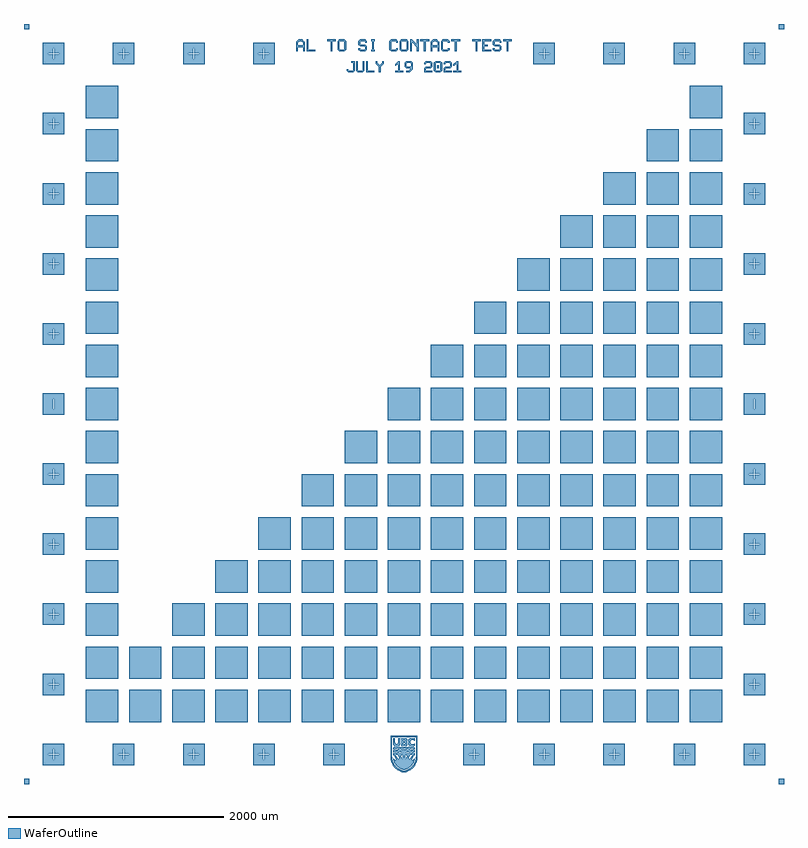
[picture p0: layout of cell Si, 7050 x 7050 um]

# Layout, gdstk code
import gdstk
lib = gdstk.Library(unit=1e-6, precision=1e-09)
def R(c, l, rs):  # rectangles x0, y0, x1, y1
    for r in rs: c.add(gdstk.rectangle(r[:2], r[2:], *l))
def P(c, l, *ps):  # polygons
    for p in ps: c.add(gdstk.Polygon(p, *l))
WaferOutline = (1, 0)

simple_squares = lib.new_cell('Simple$Squares')
R(simple_squares, WaferOutline, [(-150,-150,150,150)])

test_patterns = lib.new_cell('Test$Patterns')
test_patterns.add(gdstk.Reference(simple_squares, (0,2800)))
test_patterns.add(gdstk.Reference(simple_squares, (4400,2800)))
test_patterns.add(gdstk.Reference(simple_squares, (4000,2800)))
test_patterns.add(gdstk.Reference(simple_squares, (3600,2800)))
test_patterns.add(gdstk.Reference(simple_squares, (3200,2800)))
test_patterns.add(gdstk.Reference(simple_squares, (2800,2800)))
test_patterns.add(gdstk.Reference(simple_squares, (2800,2400)))
test_patterns.add(gdstk.Reference(simple_squares, (5600,2800)))
test_patterns.add(gdstk.Reference(simple_squares, (5200,2800)))
test_patterns.add(gdstk.Reference(simple_squares, (2800,1200)))
test_patterns.add(gdstk.Reference(simple_squares, (2800,1600)))
test_patterns.add(gdstk.Reference(simple_squares, (2800,2000)))
test_patterns.add(gdstk.Reference(simple_squares, (2800,0)))
test_patterns.add(gdstk.Reference(simple_squares, (2800,800)))
test_patterns.add(gdstk.Reference(simple_squares, (2800,400)))
test_patterns.add(gdstk.Reference(simple_squares, (4800,2800)))
test_patterns.add(gdstk.Reference(simple_squares, (4000,3200)))
test_patterns.add(gdstk.Reference(simple_squares, (5600,3200)))
test_patterns.add(gdstk.Reference(simple_squares, (5200,3200)))
test_patterns.add(gdstk.Reference(simple_squares, (4800,3200)))
test_patterns.add(gdstk.Reference(simple_squares, (5600,3600)))
test_patterns.add(gdstk.Reference(simple_squares, (5200,3600)))
test_patterns.add(gdstk.Reference(simple_squares, (4800,3600)))
test_patterns.add(gdstk.Reference(simple_squares, (5600,4000)))
test_patterns.add(gdstk.Reference(simple_squares, (5200,4000)))
test_patterns.add(gdstk.Reference(simple_squares, (4800,4000)))
test_patterns.add(gdstk.Reference(simple_squares, (4000,3600)))
test_patterns.add(gdstk.Reference(simple_squares, (4400,3600)))
test_patterns.add(gdstk.Reference(simple_squares, (3600,3600)))
test_patterns.add(gdstk.Reference(simple_squares, (4400,4400)))
test_patterns.add(gdstk.Reference(simple_squares, (5600,4400)))
test_patterns.add(gdstk.Reference(simple_squares, (5200,4400)))
test_patterns.add(gdstk.Reference(simple_squares, (4000,4000)))
test_patterns.add(gdstk.Reference(simple_squares, (4800,4400)))
test_patterns.add(gdstk.Reference(simple_squares, (4400,4000)))
test_patterns.add(gdstk.Reference(simple_squares, (3200,3200)))
test_patterns.add(gdstk.Reference(simple_squares, (5600,4800)))
test_patterns.add(gdstk.Reference(simple_squares, (5200,4800)))
test_patterns.add(gdstk.Reference(simple_squares, (4400,3200)))
test_patterns.add(gdstk.Reference(simple_squares, (4800,4800)))
test_patterns.add(gdstk.Reference(simple_squares, (3600,3200)))
test_patterns.add(gdstk.Reference(simple_squares, (5600,5200)))
test_patterns.add(gdstk.Reference(simple_squares, (5200,5200)))
test_patterns.add(gdstk.Reference(simple_squares, (5600,5600)))
test_patterns.add(gdstk.Reference(simple_squares, (0,4800)))
test_patterns.add(gdstk.Reference(simple_squares, (0,4400)))
test_patterns.add(gdstk.Reference(simple_squares, (0,4000)))
test_patterns.add(gdstk.Reference(simple_squares, (0,3600)))
test_patterns.add(gdstk.Reference(simple_squares, (0,3200)))
test_patterns.add(gdstk.Reference(simple_squares, (0,5600)))
test_patterns.add(gdstk.Reference(simple_squares, (0,5200)))
test_patterns.add(gdstk.Reference(simple_squares, (1600,1200)))
test_patterns.add(gdstk.Reference(simple_squares, (1600,1600)))
test_patterns.add(gdstk.Reference(simple_squares, (0,400)))
test_patterns.add(gdstk.Reference(simple_squares, (800,800)))
test_patterns.add(gdstk.Reference(simple_squares, (2000,1200)))
test_patterns.add(gdstk.Reference(simple_squares, (2000,1600)))
test_patterns.add(gdstk.Reference(simple_squares, (0,0)))
test_patterns.add(gdstk.Reference(simple_squares, (2400,2400)))
test_patterns.add(gdstk.Reference(simple_squares, (0,2400)))
test_patterns.add(gdstk.Reference(simple_squares, (0,2000)))
test_patterns.add(gdstk.Reference(simple_squares, (1200,1200)))
test_patterns.add(gdstk.Reference(simple_squares, (2400,800)))
test_patterns.add(gdstk.Reference(simple_squares, (2000,800)))
test_patterns.add(gdstk.Reference(simple_squares, (1600,800)))
test_patterns.add(gdstk.Reference(simple_squares, (2400,0)))
test_patterns.add(gdstk.Reference(simple_squares, (1200,800)))
test_patterns.add(gdstk.Reference(simple_squares, (2000,0)))
test_patterns.add(gdstk.Reference(simple_squares, (0,1600)))
test_patterns.add(gdstk.Reference(simple_squares, (2400,400)))
test_patterns.add(gdstk.Reference(simple_squares, (2000,400)))
test_patterns.add(gdstk.Reference(simple_squares, (1600,400)))
test_patterns.add(gdstk.Reference(simple_squares, (1200,400)))
test_patterns.add(gdstk.Reference(simple_squares, (1600,0)))
test_patterns.add(gdstk.Reference(simple_squares, (800,400)))
test_patterns.add(gdstk.Reference(simple_squares, (2400,1200)))
test_patterns.add(gdstk.Reference(simple_squares, (2400,1600)))
test_patterns.add(gdstk.Reference(simple_squares, (2400,2000)))
test_patterns.add(gdstk.Reference(simple_squares, (0,1200)))
test_patterns.add(gdstk.Reference(simple_squares, (1200,0)))
test_patterns.add(gdstk.Reference(simple_squares, (0,800)))
test_patterns.add(gdstk.Reference(simple_squares, (400,0)))
test_patterns.add(gdstk.Reference(simple_squares, (400,400)))
test_patterns.add(gdstk.Reference(simple_squares, (800,0)))
test_patterns.add(gdstk.Reference(simple_squares, (2000,2000)))
test_patterns.add(gdstk.Reference(simple_squares, (4800,2400)))
test_patterns.add(gdstk.Reference(simple_squares, (4400,2400)))
test_patterns.add(gdstk.Reference(simple_squares, (3200,0)))
test_patterns.add(gdstk.Reference(simple_squares, (3600,0)))
test_patterns.add(gdstk.Reference(simple_squares, (4000,2400)))
test_patterns.add(gdstk.Reference(simple_squares, (5600,400)))
test_patterns.add(gdstk.Reference(simple_squares, (3600,1200)))
test_patterns.add(gdstk.Reference(simple_squares, (3600,1600)))
test_patterns.add(gdstk.Reference(simple_squares, (3600,2000)))
test_patterns.add(gdstk.Reference(simple_squares, (5200,400)))
test_patterns.add(gdstk.Reference(simple_squares, (4800,400)))
test_patterns.add(gdstk.Reference(simple_squares, (4400,400)))
test_patterns.add(gdstk.Reference(simple_squares, (4000,400)))
test_patterns.add(gdstk.Reference(simple_squares, (3600,400)))
test_patterns.add(gdstk.Reference(simple_squares, (4000,0)))
test_patterns.add(gdstk.Reference(simple_squares, (3200,400)))
test_patterns.add(gdstk.Reference(simple_squares, (3600,2400)))
test_patterns.add(gdstk.Reference(simple_squares, (4000,1200)))
test_patterns.add(gdstk.Reference(simple_squares, (4000,1600)))
test_patterns.add(gdstk.Reference(simple_squares, (4000,2000)))
test_patterns.add(gdstk.Reference(simple_squares, (3200,2400)))
test_patterns.add(gdstk.Reference(simple_squares, (4800,0)))
test_patterns.add(gdstk.Reference(simple_squares, (4400,0)))
test_patterns.add(gdstk.Reference(simple_squares, (5600,800)))
test_patterns.add(gdstk.Reference(simple_squares, (5200,800)))
test_patterns.add(gdstk.Reference(simple_squares, (4800,800)))
test_patterns.add(gdstk.Reference(simple_squares, (4400,1200)))
test_patterns.add(gdstk.Reference(simple_squares, (4400,1600)))
test_patterns.add(gdstk.Reference(simple_squares, (4400,2000)))
test_patterns.add(gdstk.Reference(simple_squares, (5600,0)))
test_patterns.add(gdstk.Reference(simple_squares, (4400,800)))
test_patterns.add(gdstk.Reference(simple_squares, (4000,800)))
test_patterns.add(gdstk.Reference(simple_squares, (3200,1200)))
test_patterns.add(gdstk.Reference(simple_squares, (3200,1600)))
test_patterns.add(gdstk.Reference(simple_squares, (4800,1200)))
test_patterns.add(gdstk.Reference(simple_squares, (4800,1600)))
test_patterns.add(gdstk.Reference(simple_squares, (4800,2000)))
test_patterns.add(gdstk.Reference(simple_squares, (3200,2000)))
test_patterns.add(gdstk.Reference(simple_squares, (5200,0)))
test_patterns.add(gdstk.Reference(simple_squares, (3600,800)))
test_patterns.add(gdstk.Reference(simple_squares, (3200,800)))
test_patterns.add(gdstk.Reference(simple_squares, (5200,1200)))
test_patterns.add(gdstk.Reference(simple_squares, (5200,1600)))
test_patterns.add(gdstk.Reference(simple_squares, (5200,2000)))
test_patterns.add(gdstk.Reference(simple_squares, (5200,2400)))
test_patterns.add(gdstk.Reference(simple_squares, (5600,2400)))
test_patterns.add(gdstk.Reference(simple_squares, (5600,1200)))
test_patterns.add(gdstk.Reference(simple_squares, (5600,1600)))
test_patterns.add(gdstk.Reference(simple_squares, (5600,2000)))

c_50umsquare = lib.new_cell('50umSquare')
R(c_50umsquare, WaferOutline, [(-25,-25,25,25)])

text_2 = lib.new_cell('TEXT$2')
P(text_2, WaferOutline, [(0,0),(0,88),(24,112),(56,112),(72,96),(32,96),(16,80),(16,56),(64,56),(64,80),(48,96),(72,96),(80,88),(80,0),(64,0),(64,40),(16,40),(16,0)],
  [(96,0),(96,112),(112,112),(112,16),(176,16),(176,0)],
  [(320,0),(320,96),(288,96),(288,112),(368,112),(368,96),(336,96),(336,0)],
  [(400,0),(384,16),(384,96),(400,112),(448,112),(464,96),(464,56),(448,56),(448,88),(440,96),(408,96),(400,88),(400,24),(408,16),(440,16),(448,24),(448,56),(464,56),(464,16),(448,0)],
  [(592,0),(576,16),(576,32),(592,32),(592,24),(600,16),(632,16),(640,24),(640,40),(632,48),(592,48),(576,64),(576,96),(592,112),(640,112),(656,96),(656,80),(640,80),(640,88),(632,96),(600,96),(592,88),(592,72),(600,64),(640,64),(656,48),(656,16),(640,0)],
  [(696,0),(696,16),(704,16),(704,96),(696,96),(696,112),(728,112),(728,96),(720,96),(720,16),(728,16),(728,0)],
  [(880,0),(864,16),(864,96),(880,112),(928,112),(944,96),(944,80),(928,80),(928,88),(920,96),(888,96),(880,88),(880,24),(888,16),(920,16),(928,24),(928,32),(944,32),(944,16),(928,0)],
  [(976,0),(960,16),(960,96),(976,112),(1024,112),(1040,96),(1040,56),(1024,56),(1024,88),(1016,96),(984,96),(976,88),(976,24),(984,16),(1016,16),(1024,24),(1024,56),(1040,56),(1040,16),(1024,0)],
  [(1056,0),(1056,112),(1072,112),(1112,72),(1120,72),(1120,112),(1136,112),(1136,0),(1120,0),(1120,40),(1080,80),(1072,80),(1072,0)],
  [(1184,0),(1184,96),(1152,96),(1152,112),(1232,112),(1232,96),(1200,96),(1200,0)],
  [(1248,0),(1248,88),(1272,112),(1304,112),(1320,96),(1280,96),(1264,80),(1264,56),(1312,56),(1312,80),(1296,96),(1320,96),(1328,88),(1328,0),(1312,0),(1312,40),(1264,40),(1264,0)],
  [(1360,0),(1344,16),(1344,96),(1360,112),(1408,112),(1424,96),(1424,80),(1408,80),(1408,88),(1400,96),(1368,96),(1360,88),(1360,24),(1368,16),(1400,16),(1408,24),(1408,32),(1424,32),(1424,16),(1408,0)],
  [(1472,0),(1472,96),(1440,96),(1440,112),(1520,112),(1520,96),(1488,96),(1488,0)],
  [(1664,0),(1664,96),(1632,96),(1632,112),(1712,112),(1712,96),(1680,96),(1680,0)],
  [(1728,0),(1728,112),(1808,112),(1808,96),(1744,96),(1744,64),(1776,64),(1776,48),(1744,48),(1744,16),(1808,16),(1808,0)],
  [(1840,0),(1824,16),(1824,32),(1840,32),(1840,24),(1848,16),(1880,16),(1888,24),(1888,40),(1880,48),(1840,48),(1824,64),(1824,96),(1840,112),(1888,112),(1904,96),(1904,80),(1888,80),(1888,88),(1880,96),(1848,96),(1840,88),(1840,72),(1848,64),(1888,64),(1904,48),(1904,16),(1888,0)],
  [(1952,0),(1952,96),(1920,96),(1920,112),(2000,112),(2000,96),(1968,96),(1968,0)])

ubc_logo = lib.new_cell('UBC$Logo')
P(ubc_logo, WaferOutline, [(37,-72),(37,-71),(36,-71),(36,-69),(35,-69),(35,-67),(34,-67),(34,-65),(39,-65),(39,-64),(42,-64),(42,-63),(45,-63),(45,-67),(44,-67),(44,-71),(41,-71),(41,-72)],
  [(58,-72),(58,-71),(55,-71),(55,-67),(54,-67),(54,-63),(57,-63),(57,-64),(60,-64),(60,-65),(65,-65),(65,-67),(64,-67),(64,-69),(63,-69),(63,-71),(62,-71),(62,-72)],
  [(9,-72),(9,-65),(12,-65),(12,-64),(15,-64),(15,-63),(18,-63),(18,-62),(25,-62),(25,-65),(26,-65),(26,-70),(17,-70),(17,-71),(15,-71),(15,-72)],
  [(84,-72),(84,-71),(82,-71),(82,-70),(73,-70),(73,-65),(74,-65),(74,-62),(81,-62),(81,-63),(84,-63),(84,-64),(87,-64),(87,-65),(90,-65),(90,-72)],
  [(48,-126),(48,-125),(46,-125),(46,-124),(43,-124),(43,-123),(41,-123),(41,-122),(39,-122),(39,-121),(36,-121),(36,-120),(35,-120),(35,-119),(33,-119),(33,-118),(31,-118),(31,-117),(30,-117),(30,-116),(28,-116),(28,-115),(27,-115),(27,-114),(26,-114),(26,-113),(25,-113),(25,-112),(24,-112),(24,-111),(23,-111),(23,-110),(22,-110),(22,-109),(21,-109),(21,-108),(20,-108),(20,-107),(19,-107),(19,-105),(18,-105),(18,-104),(17,-104),(17,-102),(16,-102),(16,-101),(15,-101),(15,-99),(14,-99),(14,-97),(13,-97),(13,-94),(12,-94),(12,-92),(11,-92),(11,-89),(10,-89),(10,-87),(9,-87),(9,-85),(11,-85),(11,-86),(12,-86),(12,-87),(14,-87),(14,-88),(15,-88),(15,-89),(16,-89),(16,-90),(18,-90),(18,-91),(19,-91),(19,-92),(20,-92),(20,-93),(22,-93),(22,-94),(23,-94),(23,-95),(24,-95),(24,-94),(23,-94),(23,-92),(22,-92),(22,-90),(21,-90),(21,-87),(20,-87),(20,-85),(19,-85),(19,-82),(18,-82),(18,-80),(17,-80),(17,-77),(16,-77),(16,-75),(15,-75),(15,-73),(17,-73),(17,-74),(18,-74),(18,-75),(19,-75),(19,-76),(20,-76),(20,-77),(21,-77),(21,-78),(22,-78),(22,-79),(23,-79),(23,-80),(24,-80),(24,-81),(25,-81),(25,-82),(26,-82),(26,-83),(27,-83),(27,-84),(28,-84),(28,-85),(29,-85),(29,-86),(30,-86),(30,-87),(31,-87),(31,-88),(32,-88),(32,-89),(33,-89),(33,-86),(32,-86),(32,-82),(31,-82),(31,-78),(30,-78),(30,-73),(29,-73),(29,-69),(28,-69),(28,-65),(27,-65),(27,-60),(26,-60),(26,-59),(24,-59),(24,-58),(21,-58),(21,-59),(17,-59),(17,-60),(14,-60),(14,-61),(9,-61),(9,-54),(12,-54),(12,-53),(15,-53),(15,-52),(18,-52),(18,-51),(28,-51),(28,-52),(31,-52),(31,-53),(34,-53),(34,-54),(38,-54),(38,-53),(42,-53),(42,-52),(45,-52),(45,-51),(47,-51),(47,-53),(46,-53),(46,-59),(44,-59),(44,-60),(41,-60),(41,-61),(31,-61),(31,-60),(29,-60),(29,-59),(28,-59),(28,-61),(29,-61),(29,-62),(30,-62),(30,-64),(31,-64),(31,-66),(32,-66),(32,-67),(33,-67),(33,-69),(34,-69),(34,-71),(35,-71),(35,-73),(36,-73),(36,-74),(37,-74),(37,-76),(38,-76),(38,-78),(39,-78),(39,-79),(40,-79),(40,-81),(41,-81),(41,-83),(42,-83),(42,-84),(43,-84),(43,-86),(44,-86),(44,-82),(45,-82),(45,-75),(46,-75),(46,-68),(47,-68),(47,-61),(48,-61),(48,-53),(49,-53),(49,-50),(50,-50),(50,-53),(51,-53),(51,-61),(52,-61),(52,-68),(53,-68),(53,-75),(54,-75),(54,-82),(55,-82),(55,-86),(56,-86),(56,-84),(57,-84),(57,-83),(58,-83),(58,-81),(59,-81),(59,-79),(60,-79),(60,-78),(61,-78),(61,-76),(62,-76),(62,-74),(63,-74),(63,-73),(64,-73),(64,-71),(65,-71),(65,-69),(66,-69),(66,-67),(67,-67),(67,-66),(68,-66),(68,-64),(69,-64),(69,-62),(70,-62),(70,-61),(71,-61),(71,-59),(70,-59),(70,-60),(68,-60),(68,-61),(58,-61),(58,-60),(55,-60),(55,-59),(53,-59),(53,-53),(52,-53),(52,-51),(54,-51),(54,-52),(57,-52),(57,-53),(61,-53),(61,-54),(65,-54),(65,-53),(68,-53),(68,-52),(71,-52),(71,-51),(81,-51),(81,-52),(84,-52),(84,-53),(87,-53),(87,-54),(90,-54),(90,-61),(85,-61),(85,-60),(82,-60),(82,-59),(78,-59),(78,-58),(75,-58),(75,-59),(73,-59),(73,-60),(72,-60),(72,-65),(71,-65),(71,-69),(70,-69),(70,-73),(69,-73),(69,-78),(68,-78),(68,-82),(67,-82),(67,-86),(66,-86),(66,-89),(67,-89),(67,-88),(68,-88),(68,-87),(69,-87),(69,-86),(70,-86),(70,-85),(71,-85),(71,-84),(72,-84),(72,-83),(73,-83),(73,-82),(74,-82),(74,-81),(75,-81),(75,-80),(76,-80),(76,-79),(77,-79),(77,-78),(78,-78),(78,-77),(79,-77),(79,-76),(80,-76),(80,-75),(81,-75),(81,-74),(82,-74),(82,-73),(84,-73),(84,-75),(83,-75),(83,-77),(82,-77),(82,-80),(81,-80),(81,-82),(80,-82),(80,-85),(79,-85),(79,-87),(78,-87),(78,-90),(77,-90),(77,-92),(76,-92),(76,-94),(75,-94),(75,-95),(76,-95),(76,-94),(77,-94),(77,-93),(79,-93),(79,-92),(80,-92),(80,-91),(81,-91),(81,-90),(83,-90),(83,-89),(84,-89),(84,-88),(85,-88),(85,-87),(87,-87),(87,-86),(88,-86),(88,-85),(90,-85),(90,-87),(89,-87),(89,-89),(88,-89),(88,-92),(87,-92),(87,-94),(86,-94),(86,-97),(85,-97),(85,-99),(84,-99),(84,-101),(83,-101),(83,-102),(82,-102),(82,-104),(81,-104),(81,-105),(80,-105),(80,-107),(79,-107),(79,-108),(78,-108),(78,-109),(77,-109),(77,-110),(76,-110),(76,-111),(75,-111),(75,-112),(74,-112),(74,-113),(73,-113),(73,-114),(72,-114),(72,-115),(71,-115),(71,-116),(69,-116),(69,-117),(68,-117),(68,-118),(66,-118),(66,-119),(64,-119),(64,-120),(63,-120),(63,-121),(60,-121),(60,-122),(58,-122),(58,-123),(56,-123),(56,-124),(53,-124),(53,-125),(51,-125),(51,-126)],
  [(9,-50),(9,-43),(11,-43),(11,-42),(14,-42),(14,-41),(17,-41),(17,-40),(28,-40),(28,-41),(31,-41),(31,-42),(35,-42),(35,-43),(37,-43),(37,-42),(41,-42),(41,-41),(44,-41),(44,-40),(55,-40),(55,-41),(58,-41),(58,-42),(62,-42),(62,-43),(64,-43),(64,-42),(68,-42),(68,-41),(71,-41),(71,-40),(82,-40),(82,-41),(85,-41),(85,-42),(88,-42),(88,-43),(90,-43),(90,-50),(85,-50),(85,-49),(83,-49),(83,-48),(79,-48),(79,-47),(74,-47),(74,-48),(70,-48),(70,-49),(67,-49),(67,-50),(59,-50),(59,-49),(56,-49),(56,-48),(52,-48),(52,-47),(47,-47),(47,-48),(43,-48),(43,-49),(40,-49),(40,-50),(32,-50),(32,-49),(29,-49),(29,-48),(25,-48),(25,-47),(20,-47),(20,-48),(16,-48),(16,-49),(14,-49),(14,-50)],
  [(18,-38),(18,-37),(15,-37),(15,-36),(13,-36),(13,-35),(12,-35),(12,-34),(11,-34),(11,-33),(10,-33),(10,-31),(9,-31),(9,-8),(16,-8),(16,-26),(17,-26),(17,-29),(18,-29),(18,-30),(19,-30),(19,-31),(21,-31),(21,-32),(23,-32),(23,-31),(26,-31),(26,-30),(27,-30),(27,-28),(28,-28),(28,-8),(35,-8),(35,-31),(34,-31),(34,-33),(33,-33),(33,-34),(32,-34),(32,-35),(31,-35),(31,-36),(29,-36),(29,-37),(26,-37),(26,-38)],
  [(40,-37),(40,-25),(47,-25),(47,-32),(51,-32),(51,-31),(54,-31),(54,-30),(55,-30),(55,-27),(54,-27),(54,-26),(53,-26),(53,-25),(40,-25),(40,-14),(47,-14),(47,-20),(50,-20),(50,-19),(53,-19),(53,-18),(54,-18),(54,-16),(53,-16),(53,-15),(52,-15),(52,-14),(40,-14),(40,-8),(53,-8),(53,-9),(57,-9),(57,-10),(59,-10),(59,-11),(60,-11),(60,-13),(61,-13),(61,-19),(60,-19),(60,-21),(59,-21),(59,-23),(61,-23),(61,-25),(62,-25),(62,-32),(61,-32),(61,-34),(60,-34),(60,-35),(59,-35),(59,-36),(56,-36),(56,-37)],
  [(76,-38),(76,-37),(73,-37),(73,-36),(71,-36),(71,-35),(70,-35),(70,-34),(68,-34),(68,-32),(67,-32),(67,-31),(66,-31),(66,-28),(65,-28),(65,-17),(66,-17),(66,-15),(67,-15),(67,-13),(68,-13),(68,-12),(69,-12),(69,-11),(71,-11),(71,-10),(72,-10),(72,-9),(75,-9),(75,-8),(86,-8),(86,-9),(89,-9),(89,-10),(90,-10),(90,-12),(89,-12),(89,-17),(87,-17),(87,-16),(86,-16),(86,-15),(83,-15),(83,-14),(78,-14),(78,-15),(76,-15),(76,-16),(75,-16),(75,-17),(74,-17),(74,-18),(73,-18),(73,-22),(72,-22),(72,-23),(73,-23),(73,-27),(74,-27),(74,-29),(75,-29),(75,-30),(77,-30),(77,-31),(80,-31),(80,-32),(82,-32),(82,-31),(85,-31),(85,-30),(87,-30),(87,-29),(89,-29),(89,-30),(90,-30),(90,-36),(88,-36),(88,-37),(84,-37),(84,-38)],
  [(46,-135),(46,-134),(42,-134),(42,-133),(40,-133),(40,-132),(37,-132),(37,-131),(35,-131),(35,-130),(33,-130),(33,-129),(31,-129),(31,-128),(29,-128),(29,-127),(27,-127),(27,-126),(26,-126),(26,-125),(24,-125),(24,-124),(23,-124),(23,-123),(22,-123),(22,-122),(20,-122),(20,-121),(19,-121),(19,-120),(18,-120),(18,-119),(17,-119),(17,-118),(16,-118),(16,-117),(15,-117),(15,-116),(14,-116),(14,-115),(13,-115),(13,-114),(12,-114),(12,-112),(11,-112),(11,-111),(10,-111),(10,-109),(9,-109),(9,-108),(8,-108),(8,-106),(7,-106),(7,-104),(6,-104),(6,-102),(5,-102),(5,-100),(4,-100),(4,-98),(3,-98),(3,-95),(2,-95),(2,-91),(1,-91),(1,-86),(0,-86),(0,-4),(4,-4),(4,-79),(5,-79),(5,-86),(6,-86),(6,-91),(7,-91),(7,-94),(8,-94),(8,-97),(9,-97),(9,-99),(10,-99),(10,-101),(11,-101),(11,-103),(12,-103),(12,-105),(13,-105),(13,-106),(14,-106),(14,-108),(15,-108),(15,-109),(16,-109),(16,-110),(17,-110),(17,-111),(18,-111),(18,-113),(19,-113),(19,-114),(20,-114),(20,-115),(21,-115),(21,-116),(23,-116),(23,-117),(24,-117),(24,-118),(25,-118),(25,-119),(26,-119),(26,-120),(28,-120),(28,-121),(29,-121),(29,-122),(31,-122),(31,-123),(32,-123),(32,-124),(34,-124),(34,-125),(36,-125),(36,-126),(38,-126),(38,-127),(41,-127),(41,-128),(43,-128),(43,-129),(46,-129),(46,-130),(53,-130),(53,-129),(56,-129),(56,-128),(58,-128),(58,-127),(61,-127),(61,-126),(63,-126),(63,-125),(65,-125),(65,-124),(67,-124),(67,-123),(68,-123),(68,-122),(70,-122),(70,-121),(71,-121),(71,-120),(73,-120),(73,-119),(74,-119),(74,-118),(75,-118),(75,-117),(76,-117),(76,-116),(78,-116),(78,-115),(79,-115),(79,-114),(80,-114),(80,-113),(81,-113),(81,-111),(82,-111),(82,-110),(83,-110),(83,-109),(84,-109),(84,-108),(85,-108),(85,-106),(86,-106),(86,-105),(87,-105),(87,-103),(88,-103),(88,-101),(89,-101),(89,-99),(90,-99),(90,-97),(91,-97),(91,-94),(92,-94),(92,-91),(93,-91),(93,-86),(94,-86),(94,-79),(95,-79),(95,-4),(0,-4),(0,0),(99,0),(99,-86),(98,-86),(98,-91),(97,-91),(97,-95),(96,-95),(96,-98),(95,-98),(95,-100),(94,-100),(94,-102),(93,-102),(93,-104),(92,-104),(92,-106),(91,-106),(91,-108),(90,-108),(90,-109),(89,-109),(89,-111),(88,-111),(88,-112),(87,-112),(87,-114),(86,-114),(86,-115),(85,-115),(85,-116),(84,-116),(84,-117),(83,-117),(83,-118),(82,-118),(82,-119),(81,-119),(81,-120),(80,-120),(80,-121),(79,-121),(79,-122),(77,-122),(77,-123),(76,-123),(76,-124),(75,-124),(75,-125),(73,-125),(73,-126),(72,-126),(72,-127),(70,-127),(70,-128),(68,-128),(68,-129),(66,-129),(66,-130),(64,-130),(64,-131),(62,-131),(62,-132),(59,-132),(59,-133),(57,-133),(57,-134),(53,-134),(53,-135)])

alignment_mark_large = lib.new_cell('Alignment$Mark$Large')
P(alignment_mark_large, WaferOutline, [(-100,-100),(-100,50),(-4,50),(-4,4),(-50,4),(-50,-4),(-4,-4),(-4,-50),(4,-50),(4,-4),(50,-4),(50,4),(4,4),(4,50),(-100,50),(-100,100),(100,100),(100,-100)])

text_3 = lib.new_cell('TEXT$3')
R(text_3, WaferOutline, [(840,37.5,855,67.5)])
P(text_3, WaferOutline, [(15,0),(0,15),(0,30),(15,30),(15,22.5),(22.5,15),(52.5,15),(60,22.5),(60,90),(45,90),(45,105),(75,105),(75,15),(60,0)],
  [(105,0),(90,15),(90,105),(105,105),(105,22.5),(112.5,15),(142.5,15),(150,22.5),(150,105),(165,105),(165,15),(150,0)],
  [(180,0),(180,105),(195,105),(195,15),(255,15),(255,0)],
  [(300,0),(300,52.5),(270,82.5),(270,105),(285,105),(285,90),(307.5,67.5),(330,90),(330,105),(345,105),(345,82.5),(315,52.5),(315,0)],
  [(450,0),(450,15),(480,15),(480,75),(472.5,75),(457.5,60),(450,60),(450,75),(480,105),(495,105),(495,15),(525,15),(525,0)],
  [(555,0),(555,15),(577.5,15),(592.5,30),(592.5,37.5),(555,37.5),(540,52.5),(592.5,52.5),(600,60),(600,82.5),(592.5,90),(562.5,90),(555,82.5),(555,60),(562.5,52.5),(540,52.5),(540,90),(555,105),(600,105),(615,90),(615,30),(585,0)],
  [(720,0),(720,37.5),(735,52.5),(772.5,52.5),(780,60),(780,82.5),(772.5,90),(742.5,90),(735,82.5),(735,75),(720,75),(720,90),(735,105),(780,105),(795,90),(795,52.5),(780,37.5),(742.5,37.5),(735,30),(735,15),(795,15),(795,0)],
  [(825,0),(810,15),(810,90),(825,105),(870,105),(885,90),(832.5,90),(825,82.5),(825,22.5),(832.5,15),(862.5,15),(870,22.5),(870,82.5),(862.5,90),(885,90),(885,15),(870,0)],
  [(900,0),(900,37.5),(915,52.5),(952.5,52.5),(960,60),(960,82.5),(952.5,90),(922.5,90),(915,82.5),(915,75),(900,75),(900,90),(915,105),(960,105),(975,90),(975,52.5),(960,37.5),(922.5,37.5),(915,30),(915,15),(975,15),(975,0)],
  [(990,0),(990,15),(1020,15),(1020,75),(1012.5,75),(997.5,60),(990,60),(990,75),(1020,105),(1035,105),(1035,15),(1065,15),(1065,0)])

c_si = lib.new_cell('Si')
c_si.add(gdstk.Reference(test_patterns, (-2800,-2800)))
r = gdstk.Reference(c_50umsquare, (-3500,-3500)); r.repetition = gdstk.Repetition(2, 2, v1=(7000,0), v2=(0,7000)); c_si.add(r)
c_si.add(gdstk.Reference(text_2, (-1000,3270.309)))
r = gdstk.Reference(ubc_logo, (-123.75,-3079.191), magnification=2.5); r.repetition = gdstk.Repetition(1, 1, v1=(0,0), v2=(0,0)); c_si.add(r)
c_si.add(gdstk.Reference(alignment_mark_large, (-3250,-3250)))
c_si.add(gdstk.Reference(alignment_mark_large, (-2600,-3250)))
c_si.add(gdstk.Reference(alignment_mark_large, (-1950,-3250)))
c_si.add(gdstk.Reference(alignment_mark_large, (-1300,-3250)))
c_si.add(gdstk.Reference(alignment_mark_large, (-650,-3250)))
c_si.add(gdstk.Reference(text_3, (-532.5,3075.469)))
c_si.add(gdstk.Reference(alignment_mark_large, (650,-3250)))
c_si.add(gdstk.Reference(alignment_mark_large, (1300,-3250)))
c_si.add(gdstk.Reference(alignment_mark_large, (1950,-3250)))
c_si.add(gdstk.Reference(alignment_mark_large, (2600,-3250)))
c_si.add(gdstk.Reference(alignment_mark_large, (3250,-3250)))
c_si.add(gdstk.Reference(alignment_mark_large, (-3250,-2600)))
c_si.add(gdstk.Reference(alignment_mark_large, (3250,-2600)))
c_si.add(gdstk.Reference(alignment_mark_large, (-3250,-1950)))
c_si.add(gdstk.Reference(alignment_mark_large, (3250,-1950)))
c_si.add(gdstk.Reference(alignment_mark_large, (-3250,-1300)))
c_si.add(gdstk.Reference(alignment_mark_large, (3250,-1300)))
c_si.add(gdstk.Reference(alignment_mark_large, (-3250,-650)))
c_si.add(gdstk.Reference(alignment_mark_large, (3250,-650)))
c_si.add(gdstk.Reference(alignment_mark_large, (-3250,0)))
c_si.add(gdstk.Reference(alignment_mark_large, (3250,0)))
c_si.add(gdstk.Reference(alignment_mark_large, (-3250,650)))
c_si.add(gdstk.Reference(alignment_mark_large, (3250,650)))
c_si.add(gdstk.Reference(alignment_mark_large, (-3250,1300)))
c_si.add(gdstk.Reference(alignment_mark_large, (3250,1300)))
c_si.add(gdstk.Reference(alignment_mark_large, (-3250,1950)))
c_si.add(gdstk.Reference(alignment_mark_large, (3250,1950)))
c_si.add(gdstk.Reference(alignment_mark_large, (-3250,2600)))
c_si.add(gdstk.Reference(alignment_mark_large, (3250,2600)))
c_si.add(gdstk.Reference(alignment_mark_large, (-3250,3250)))
c_si.add(gdstk.Reference(alignment_mark_large, (-2600,3250)))
c_si.add(gdstk.Reference(alignment_mark_large, (-1950,3250)))
c_si.add(gdstk.Reference(alignment_mark_large, (-1300,3250)))
c_si.add(gdstk.Reference(alignment_mark_large, (1300,3250)))
c_si.add(gdstk.Reference(alignment_mark_large, (1950,3250)))
c_si.add(gdstk.Reference(alignment_mark_large, (2600,3250)))
c_si.add(gdstk.Reference(alignment_mark_large, (3250,3250)))

lib.write_gds('Si.gds')
